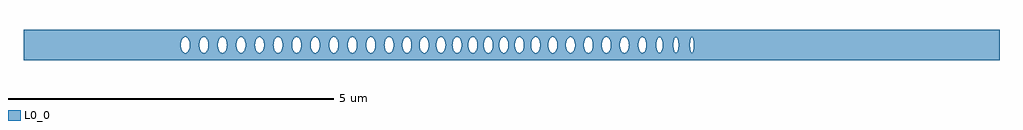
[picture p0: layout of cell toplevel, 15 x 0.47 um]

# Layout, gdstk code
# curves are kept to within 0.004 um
import gdstk
lib = gdstk.Library(unit=1e-6, precision=1e-09)
def P(c, l, *ps):  # polygons
    for p in ps: c.add(gdstk.Polygon(p, *l))
L0_0 = (0, 0)

toplevel = lib.new_cell('toplevel')
P(toplevel, L0_0, [(-4.494,-0.235),(-4.494,-0.085),(-4.507,-0.053),(-4.513,-0.016),(-4.51,0.038),(-4.494,0.085),(-4.494,0.235),(-7.5,0.235),(-7.5,-0.008),(-5.084,-0.008),(-5.081,0.038),(-5.071,0.073),(-5.044,0.112),(-5.018,0.124),(-4.992,0.118),(-4.962,0.085),(-4.948,0.046),(-4.943,-0.008),(-4.799,-0.008),(-4.794,0.046),(-4.783,0.079),(-4.762,0.109),(-4.733,0.124),(-4.706,0.118),(-4.683,0.096),(-4.666,0.06),(-4.658,0.016),(-4.661,-0.038),(-4.671,-0.073),(-4.694,-0.109),(-4.724,-0.124),(-4.75,-0.118),(-4.773,-0.096),(-4.79,-0.06),(-4.799,-0.008),(-4.943,-0.008),(-4.948,-0.046),(-4.962,-0.085),(-4.98,-0.109),(-5.009,-0.124),(-5.035,-0.118),(-5.062,-0.09),(-5.079,-0.046),(-5.084,-0.008),(-7.5,-0.008),(-7.5,-0.235)],
  [(-3.942,0.016),(-3.934,0.06),(-3.914,0.1),(-3.886,0.122),(-3.859,0.122),(-3.859,0.235),(-4.494,0.235),(-4.494,0.085),(-4.477,0.109),(-4.456,0.122),(-4.43,0.122),(-4.409,0.109),(-4.381,0.06),(-4.373,-0.016),(-4.228,-0.016),(-4.225,0.038),(-4.215,0.073),(-4.192,0.109),(-4.162,0.124),(-4.136,0.118),(-4.109,0.09),(-4.092,0.046),(-4.087,0.008),(-4.089,-0.031),(-4.103,-0.079),(-4.12,-0.105),(-4.144,-0.122),(-4.171,-0.122),(-4.203,-0.096),(-4.215,-0.073),(-4.228,-0.016),(-4.373,-0.016),(-4.377,-0.046),(-4.392,-0.085),(-4.409,-0.109),(-4.43,-0.122),(-4.465,-0.118),(-4.494,-0.085),(-4.494,-0.235),(-3.859,-0.235),(-3.859,-0.122),(-3.877,-0.124),(-3.894,-0.118),(-3.921,-0.09),(-3.941,-0.031)],
  [(-3.859,0.235),(-3.859,0.122),(-3.838,0.109),(-3.815,0.073),(-3.802,0),(-3.658,0),(-3.653,0.046),(-3.638,0.085),(-3.621,0.109),(-3.591,0.124),(-3.565,0.118),(-3.542,0.096),(-3.525,0.06),(-3.517,0.016),(-3.52,-0.038),(-3.53,-0.073),(-3.553,-0.109),(-3.583,-0.124),(-3.609,-0.118),(-3.632,-0.096),(-3.653,-0.046),(-3.658,0),(-3.802,0),(-3.815,-0.073),(-3.838,-0.109),(-3.859,-0.122),(-3.859,-0.235),(-3.236,-0.235),(-3.236,-0.046),(-3.247,-0.079),(-3.264,-0.105),(-3.289,-0.122),(-3.311,-0.123),(-3.347,-0.096),(-3.364,-0.06),(-3.372,-0.016),(-3.364,0.06),(-3.347,0.096),(-3.324,0.118),(-3.297,0.124),(-3.268,0.109),(-3.25,0.085),(-3.236,0.046),(-3.236,0.235)],
  [(-3.233,-0.023),(-3.236,-0.235),(-2.511,-0.235),(-2.511,-0.046),(-2.516,-0.016),(-2.511,0.235),(-3.236,0.235),(-3.231,-0.008),(-3.087,-0.008),(-3.085,0.031),(-3.071,0.079),(-3.05,0.109),(-3.021,0.124),(-2.986,0.112),(-2.965,0.085),(-2.949,0.038),(-2.946,-0.008),(-2.802,-0.008),(-2.797,0.046),(-2.776,0.096),(-2.744,0.122),(-2.709,0.118),(-2.686,0.096),(-2.669,0.06),(-2.661,-0.016),(-2.667,-0.053),(-2.68,-0.085),(-2.697,-0.109),(-2.718,-0.122),(-2.749,-0.12),(-2.776,-0.096),(-2.793,-0.06),(-2.802,-0.008),(-2.946,-0.008),(-2.949,-0.038),(-2.965,-0.085),(-2.986,-0.112),(-3.012,-0.124),(-3.038,-0.118),(-3.065,-0.09),(-3.082,-0.046),(-3.087,-0.008),(-3.231,-0.008)],
  [(-1.951,0.016),(-1.947,0.046),(-1.932,0.085),(-1.915,0.109),(-1.894,0.122),(-1.894,0.235),(-2.511,0.235),(-2.511,0.046),(-2.484,0.105),(-2.459,0.122),(-2.441,0.124),(-2.412,0.109),(-2.389,0.073),(-2.38,0.046),(-2.376,-0.016),(-2.232,-0.016),(-2.229,0.038),(-2.213,0.085),(-2.188,0.115),(-2.157,0.124),(-2.128,0.109),(-2.11,0.085),(-2.096,0.046),(-2.091,0.008),(-2.093,-0.031),(-2.107,-0.079),(-2.128,-0.109),(-2.157,-0.124),(-2.183,-0.118),(-2.207,-0.096),(-2.219,-0.073),(-2.232,-0.016),(-2.376,-0.016),(-2.384,-0.06),(-2.401,-0.096),(-2.424,-0.118),(-2.441,-0.124),(-2.459,-0.122),(-2.484,-0.105),(-2.511,-0.046),(-2.511,-0.235),(-1.894,-0.235),(-1.894,-0.122),(-1.919,-0.105),(-1.941,-0.066)],
  [(-1.411,0.016),(-1.399,0.073),(-1.383,0.1),(-1.363,0.118),(-1.346,0.124),(-1.328,0.122),(-1.308,0.109),(-1.29,0.085),(-1.29,0.235),(-1.894,0.235),(-1.894,0.122),(-1.859,0.118),(-1.836,0.096),(-1.817,0.053),(-1.811,-0.008),(-1.678,-0.008),(-1.673,0.046),(-1.659,0.085),(-1.641,0.109),(-1.612,0.124),(-1.585,0.118),(-1.562,0.096),(-1.545,0.06),(-1.537,0.016),(-1.54,-0.038),(-1.55,-0.073),(-1.573,-0.109),(-1.603,-0.124),(-1.629,-0.118),(-1.652,-0.096),(-1.669,-0.06),(-1.678,-0.008),(-1.811,-0.008),(-1.817,-0.053),(-1.836,-0.096),(-1.859,-0.118),(-1.894,-0.122),(-1.894,-0.235),(-1.29,-0.235),(-1.29,-0.085),(-1.308,-0.109),(-1.328,-0.122),(-1.355,-0.122),(-1.372,-0.112),(-1.393,-0.085),(-1.403,-0.06),(-1.411,-0.023)],
  [(-1.29,0.235),(-1.29,0.085),(-1.273,0.031),(-1.272,-0.016),(-1.155,-0.016),(-1.152,0.038),(-1.142,0.073),(-1.119,0.109),(-1.089,0.124),(-1.063,0.118),(-1.036,0.09),(-1.019,0.046),(-1.014,0),(-0.907,0),(-0.902,0.046),(-0.887,0.085),(-0.87,0.109),(-0.841,0.124),(-0.814,0.118),(-0.791,0.096),(-0.774,0.06),(-0.766,0.016),(-0.769,-0.038),(-0.779,-0.073),(-0.802,-0.109),(-0.832,-0.124),(-0.858,-0.118),(-0.881,-0.096),(-0.902,-0.046),(-0.907,0),(-1.014,0),(-1.019,-0.046),(-1.033,-0.085),(-1.051,-0.109),(-1.08,-0.124),(-1.106,-0.118),(-1.13,-0.096),(-1.142,-0.073),(-1.155,-0.016),(-1.272,-0.016),(-1.29,-0.085),(-1.29,-0.235),(-0.665,-0.235),(-0.665,0.235)],
  [(-0.526,-0.031),(-0.537,-0.073),(-0.556,-0.105),(-0.581,-0.122),(-0.599,-0.124),(-0.628,-0.109),(-0.645,-0.085),(-0.66,-0.046),(-0.665,0),(-0.665,-0.235),(-0.164,-0.235),(-0.164,-0.096),(-0.176,-0.073),(-0.189,-0.016),(-0.186,0.038),(-0.164,0.096),(-0.164,0.235),(-0.665,0.235),(-0.665,0),(-0.66,0.046),(-0.645,0.085),(-0.628,0.109),(-0.599,0.124),(-0.572,0.118),(-0.543,0.085),(-0.527,0.038),(-0.524,-0.016),(-0.426,-0.016),(-0.418,0.06),(-0.401,0.096),(-0.378,0.118),(-0.36,0.124),(-0.338,0.12),(-0.304,0.085),(-0.286,0.016),(-0.29,-0.046),(-0.304,-0.085),(-0.334,-0.118),(-0.365,-0.123),(-0.394,-0.105),(-0.418,-0.06),(-0.426,-0.016),(-0.524,-0.016)],
  [(-0.156,0.105),(-0.123,0.124),(-0.105,0.122),(-0.081,0.105),(-0.057,0.06),(-0.048,-0.008),(0.051,-0.008),(0.056,0.046),(0.073,0.09),(0.1,0.118),(0.117,0.124),(0.135,0.122),(0.156,0.109),(0.179,0.073),(0.189,0.038),(0.192,-0.008),(0.189,-0.038),(0.173,-0.085),(0.156,-0.109),(0.126,-0.124),(0.1,-0.118),(0.073,-0.09),(0.056,-0.046),(0.051,-0.008),(-0.048,-0.008),(-0.059,-0.066),(-0.085,-0.109),(-0.105,-0.122),(-0.123,-0.124),(-0.145,-0.115),(-0.164,-0.096),(-0.164,-0.235),(0.405,-0.235),(0.405,-0.109),(0.376,-0.124),(0.358,-0.122),(0.337,-0.109),(0.314,-0.073),(0.301,-0.016),(0.304,0.038),(0.326,0.096),(0.345,0.115),(0.367,0.124),(0.385,0.122),(0.405,0.109),(0.405,0.235),(-0.164,0.235),(-0.164,0.096)],
  [(0.837,0.016),(0.841,0.046),(0.858,0.09),(0.876,0.112),(0.902,0.124),(0.928,0.118),(0.948,0.1),(0.961,0.079),(0.975,0.031),(0.975,0.235),(0.405,0.235),(0.405,0.109),(0.433,0.06),(0.441,0.023),(0.441,-0.016),(0.564,-0.016),(0.567,0.038),(0.577,0.073),(0.6,0.109),(0.63,0.124),(0.656,0.118),(0.679,0.096),(0.7,0.046),(0.705,0),(0.7,-0.046),(0.685,-0.085),(0.668,-0.109),(0.639,-0.124),(0.612,-0.118),(0.589,-0.096),(0.572,-0.06),(0.564,-0.016),(0.441,-0.016),(0.426,-0.079),(0.405,-0.109),(0.405,-0.235),(0.975,-0.235),(0.975,-0.031),(0.961,-0.079),(0.944,-0.105),(0.92,-0.122),(0.893,-0.122),(0.869,-0.105),(0.849,-0.073),(0.838,-0.031)],
  [(0.976,-0.023),(0.975,-0.235),(1.673,-0.235),(1.673,-0.06),(1.665,-0.016),(1.673,0.059),(1.673,0.235),(0.975,0.235),(0.977,-0.008),(1.111,-0.008),(1.116,0.046),(1.13,0.085),(1.16,0.118),(1.186,0.124),(1.216,0.109),(1.239,0.073),(1.249,0.038),(1.252,-0.016),(1.387,-0.016),(1.393,0.053),(1.412,0.096),(1.444,0.122),(1.479,0.118),(1.502,0.096),(1.517,0.066),(1.528,0),(1.514,-0.073),(1.495,-0.105),(1.47,-0.122),(1.444,-0.122),(1.419,-0.105),(1.395,-0.06),(1.387,-0.016),(1.252,-0.016),(1.244,-0.06),(1.227,-0.096),(1.204,-0.118),(1.186,-0.124),(1.16,-0.118),(1.137,-0.096),(1.12,-0.06),(1.111,-0.008),(0.977,-0.008)],
  [(1.676,0.066),(1.701,0.109),(1.722,0.122),(1.748,0.122),(1.769,0.109),(1.787,0.085),(1.801,0.046),(1.805,-0.008),(1.95,-0.008),(1.953,0.038),(1.969,0.09),(1.992,0.117),(2.015,0.123),(2.04,0.108),(2.06,0.072),(2.071,-0.015),(2.066,-0.052),(2.052,-0.09),(2.037,-0.111),(2.015,-0.123),(1.992,-0.117),(1.969,-0.09),(1.956,-0.052),(1.95,-0.008),(1.805,-0.008),(1.801,-0.046),(1.787,-0.085),(1.769,-0.109),(1.74,-0.124),(1.722,-0.122),(1.701,-0.109),(1.673,-0.06),(1.673,-0.235),(2.291,-0.235),(2.291,-0.116),(2.266,-0.12),(2.245,-0.099),(2.232,-0.065),(2.224,-0.008),(2.229,0.052),(2.245,0.099),(2.266,0.12),(2.291,0.116),(2.291,0.235),(1.673,0.235)],
  [(2.324,-0.03),(2.312,-0.084),(2.291,-0.116),(2.291,-0.235),(7.5,-0.235),(7.5,0.235),(2.291,0.235),(2.291,0.116),(2.305,0.099),(2.318,0.065),(2.325,-0.015),(2.487,-0.015),(2.496,0.077),(2.51,0.11),(2.525,0.121),(2.543,0.113),(2.556,0.088),(2.566,0.045),(2.568,-0.015),(2.742,-0.015),(2.749,0.076),(2.756,0.101),(2.771,0.12),(2.788,0.105),(2.802,0.044),(2.804,-0.015),(2.798,-0.071),(2.788,-0.105),(2.775,-0.12),(2.763,-0.114),(2.753,-0.092),(2.742,-0.015),(2.568,-0.015),(2.556,-0.088),(2.543,-0.113),(2.53,-0.121),(2.515,-0.115),(2.504,-0.098),(2.493,-0.065),(2.487,-0.015),(2.325,-0.015)])

lib.write_gds('toplevel.gds')
